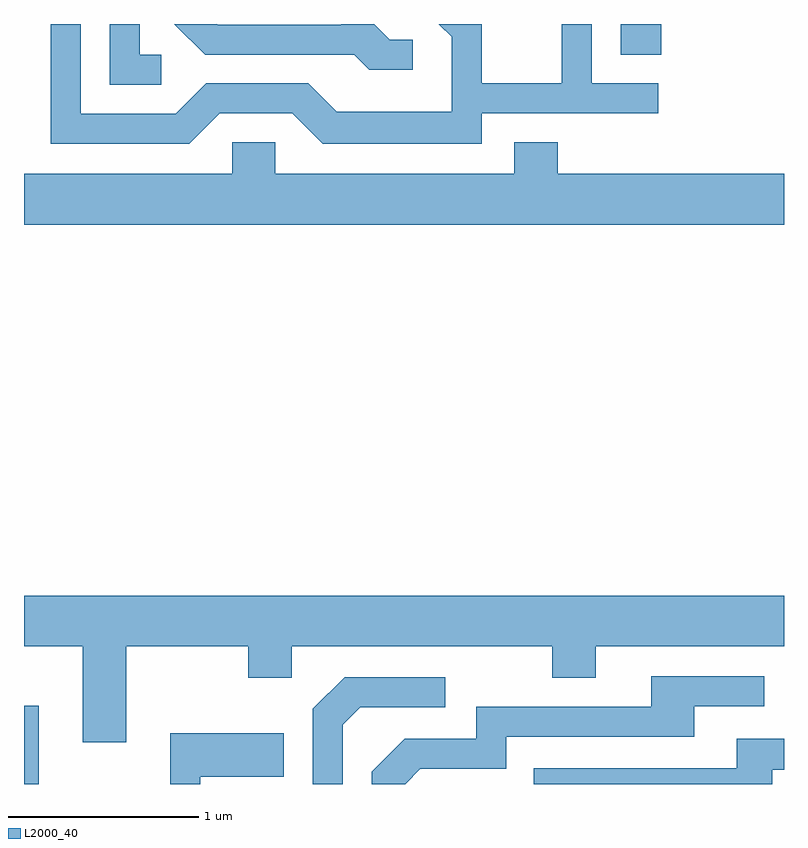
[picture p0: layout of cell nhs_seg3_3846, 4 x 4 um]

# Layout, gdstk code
import gdstk
lib = gdstk.Library(unit=1e-6, precision=1e-09)
def R(c, l, rs):  # rectangles x0, y0, x1, y1
    for r in rs: c.add(gdstk.rectangle(r[:2], r[2:], *l))
def P(c, l, *ps):  # polygons
    for p in ps: c.add(gdstk.Polygon(p, *l))
L2000_40 = (2000, 40)

nhs_seg3_3846 = lib.new_cell('nhs_seg3_3846')
R(nhs_seg3_3846, L2000_40, [(297.611,1191.892,297.689,1192.304), (300.751,1195.731,300.964,1195.892)])
P(nhs_seg3_3846, L2000_40, [(299.658,1195.809),(299.537,1195.809),(299.454,1195.892),(299.281,1195.892),(299.281,1195.889),(298.632,1195.889),(298.629,1195.892),(298.403,1195.892),(298.564,1195.731),(299.349,1195.731),(299.429,1195.651),(299.658,1195.651)],
  [(298.333,1195.729),(298.219,1195.729),(298.219,1195.892),(298.061,1195.892),(298.061,1195.571),(298.333,1195.571)],
  [(298.642,1195.421),(299.024,1195.421),(299.184,1195.261),(300.019,1195.261),(300.019,1195.421),(300.948,1195.421),(300.948,1195.579),(300.599,1195.579),(300.599,1195.892),(300.441,1195.892),(300.441,1195.579),(300.019,1195.579),(300.019,1195.892),(299.793,1195.892),(299.861,1195.824),(299.861,1195.429),(299.257,1195.429),(299.107,1195.579),(298.569,1195.579),(298.409,1195.419),(297.909,1195.419),(297.909,1195.892),(297.751,1195.892),(297.751,1195.261),(298.482,1195.261)],
  [(301.611,1195.104),(300.419,1195.104),(300.419,1195.269),(300.191,1195.269),(300.191,1195.104),(298.934,1195.104),(298.934,1195.269),(298.706,1195.269),(298.706,1195.104),(297.611,1195.104),(297.611,1194.836),(301.611,1194.836)],
  [(298.149,1192.616),(298.791,1192.616),(298.791,1192.451),(299.019,1192.451),(299.019,1192.616),(300.391,1192.616),(300.391,1192.451),(300.619,1192.451),(300.619,1192.616),(301.611,1192.616),(301.611,1192.884),(297.611,1192.884),(297.611,1192.616),(297.921,1192.616),(297.921,1192.111),(298.149,1192.111)],
  [(299.697,1191.971),(300.149,1191.971),(300.149,1192.141),(301.139,1192.141),(301.139,1192.301),(301.508,1192.301),(301.508,1192.459),(300.911,1192.459),(300.911,1192.299),(299.991,1192.299),(299.991,1192.129),(299.614,1192.129),(299.441,1191.957),(299.441,1191.892),(299.617,1191.892)],
  [(299.289,1192.204),(299.382,1192.296),(299.828,1192.296),(299.828,1192.454),(299.299,1192.454),(299.131,1192.287),(299.131,1191.892),(299.289,1191.892)],
  [(298.539,1191.931),(298.979,1191.931),(298.979,1192.159),(298.381,1192.159),(298.381,1191.892),(298.539,1191.892)],
  [(301.549,1191.966),(301.611,1191.966),(301.611,1192.129),(301.361,1192.129),(301.361,1191.974),(300.293,1191.974),(300.293,1191.892),(301.549,1191.892)])

lib.write_gds('nhs_seg3_3846.gds')
